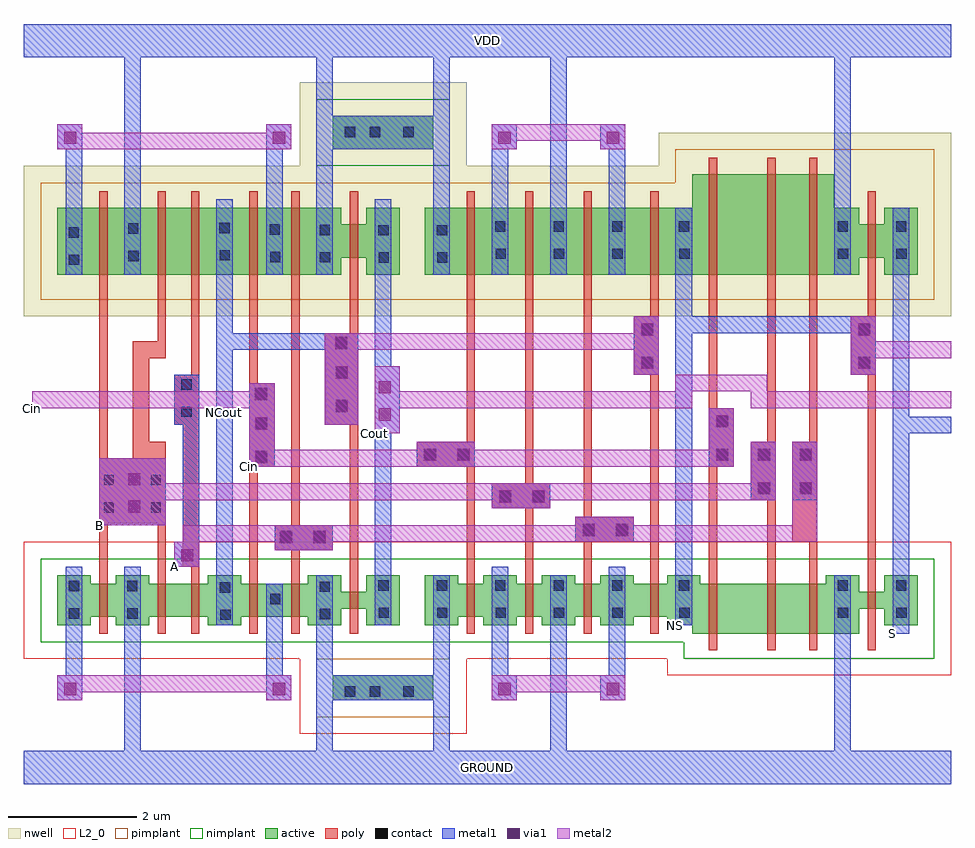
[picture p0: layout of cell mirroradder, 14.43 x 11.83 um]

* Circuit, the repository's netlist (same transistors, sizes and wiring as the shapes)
* SPICE NETLIST
***************************************

.SUBCKT mimcap_g13 plus minus
.ENDS
***************************************
.SUBCKT spiral_inductor_lvs pos neg
.ENDS
***************************************
.SUBCKT mirroradder GROUND VDD Cout NS S B A Cin
** N=19 EP=8 IP=0 FDC=28
* PORT GROUND GROUND 4485 -1300 metal1
* PORT VDD VDD 4485 10010 metal1
* PORT Cout Cout 2730 3900 metal2
* PORT NS NS 7410 910 metal1
* PORT S S 10790 780 metal1
* PORT B B -1560 2470 metal2
* PORT A A -390 1820 metal2
* PORT Cin Cin 780 3380 metal2
M0 GROUND B 1 GROUND nmos L=1.3e-07 W=5.2e-07 $X=-1560 $Y=1040 $D=19
M1 3 B GROUND GROUND nmos L=1.3e-07 W=5.2e-07 $X=-650 $Y=1040 $D=19
M2 4 A 3 GROUND nmos L=1.3e-07 W=5.2e-07 $X=-130 $Y=1040 $D=19
M3 1 Cin 4 GROUND nmos L=1.3e-07 W=5.2e-07 $X=780 $Y=1040 $D=19
M4 GROUND A 1 GROUND nmos L=1.3e-07 W=5.2e-07 $X=1430 $Y=1040 $D=19
M5 Cout 4 GROUND GROUND nmos L=1.3e-07 W=2.6e-07 $X=2340 $Y=1170 $D=19
M6 7 Cin GROUND GROUND nmos L=1.3e-07 W=5.2e-07 $X=4160 $Y=1040 $D=19
M7 GROUND B 7 GROUND nmos L=1.3e-07 W=5.2e-07 $X=5070 $Y=1040 $D=19
M8 7 A GROUND GROUND nmos L=1.3e-07 W=5.2e-07 $X=5980 $Y=1040 $D=19
M9 NS 4 7 GROUND nmos L=1.3e-07 W=5.2e-07 $X=7020 $Y=1040 $D=19
M10 9 Cin NS GROUND nmos L=1.3e-07 W=7.8e-07 $X=7930 $Y=780 $D=19
M11 10 B 9 GROUND nmos L=1.3e-07 W=7.8e-07 $X=8840 $Y=780 $D=19
M12 GROUND A 10 GROUND nmos L=1.3e-07 W=7.8e-07 $X=9490 $Y=780 $D=19
M13 S NS GROUND GROUND nmos L=1.3e-07 W=2.6e-07 $X=10400 $Y=1170 $D=19
M14 VDD B 12 VDD pmos L=1.3e-07 W=1.04e-06 $X=-1560 $Y=6370 $D=25
M15 13 B VDD VDD pmos L=1.3e-07 W=1.04e-06 $X=-650 $Y=6370 $D=25
M16 4 A 13 VDD pmos L=1.3e-07 W=1.04e-06 $X=-130 $Y=6370 $D=25
M17 12 Cin 4 VDD pmos L=1.3e-07 W=1.04e-06 $X=780 $Y=6370 $D=25
M18 VDD A 12 VDD pmos L=1.3e-07 W=1.04e-06 $X=1430 $Y=6370 $D=25
M19 Cout 4 VDD VDD pmos L=1.3e-07 W=5.2e-07 $X=2340 $Y=6630 $D=25
M20 14 Cin VDD VDD pmos L=1.3e-07 W=1.04e-06 $X=4160 $Y=6370 $D=25
M21 VDD B 14 VDD pmos L=1.3e-07 W=1.04e-06 $X=5070 $Y=6370 $D=25
M22 14 A VDD VDD pmos L=1.3e-07 W=1.04e-06 $X=5980 $Y=6370 $D=25
M23 NS 4 14 VDD pmos L=1.3e-07 W=1.04e-06 $X=7020 $Y=6370 $D=25
M24 15 Cin NS VDD pmos L=1.3e-07 W=1.56e-06 $X=7930 $Y=6370 $D=25
M25 16 B 15 VDD pmos L=1.3e-07 W=1.56e-06 $X=8840 $Y=6370 $D=25
M26 VDD A 16 VDD pmos L=1.3e-07 W=1.56e-06 $X=9490 $Y=6370 $D=25
M27 S NS VDD VDD pmos L=1.3e-07 W=5.2e-07 $X=10400 $Y=6630 $D=25
.ENDS
***************************************

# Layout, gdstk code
import gdstk
lib = gdstk.Library(unit=1e-6, precision=1e-09)
def R(c, l, rs):  # rectangles x0, y0, x1, y1
    for r in rs: c.add(gdstk.rectangle(r[:2], r[2:], *l))
def A(c, l, x, y, w, h, nx, ny, dx, dy):  # array of equal rectangles
    R(c, l, [(x+i*dx, y+j*dy, x+i*dx+w, y+j*dy+h) for i in range(nx) for j in range(ny)])
def P(c, l, *ps):  # polygons
    for p in ps: c.add(gdstk.Polygon(p, *l))
L2_0 = (2, 0)
nwell = (3, 0)
active = (6, 0)
poly = (17, 0)
pimplant = (25, 0)
nimplant = (26, 0)
contact = (30, 0)
metal1 = (31, 0)
metal2 = (32, 0)
via1 = (51, 0)

mirroradder = lib.new_cell('mirroradder')
P(mirroradder, L2_0, [(-2.73,0.39),(1.56,0.39),(1.56,-0.78),(4.16,-0.78),(4.16,0.39),(7.28,0.39),(7.28,0.13),(11.7,0.13),(11.7,2.21),(-2.73,2.21)])
P(mirroradder, nwell, [(-2.73,5.72),(11.7,5.72),(11.7,8.58),(7.15,8.58),(7.15,8.06),(4.16,8.06),(4.16,9.36),(1.56,9.36),(1.56,8.06),(-2.73,8.06)])
R(mirroradder, active, [(2.08,-0.26,3.64,0.13), (2.08,8.32,3.64,8.84)])
P(mirroradder, active, [(3.51,6.37),(10.27,6.37),(10.27,6.63),(10.66,6.63),(10.66,6.37),(11.18,6.37),(11.18,7.41),(10.66,7.41),(10.66,7.15),(10.27,7.15),(10.27,7.41),(9.88,7.41),(9.88,7.93),(7.67,7.93),(7.67,7.41),(3.51,7.41)],
  [(-2.21,0.91),(-1.69,0.91),(-1.69,1.04),(-1.3,1.04),(-1.3,0.91),(-0.78,0.91),(-0.78,1.04),(0.13,1.04),(0.13,0.91),(0.65,0.91),(0.65,1.04),(1.69,1.04),(1.69,0.91),(2.21,0.91),(2.21,1.17),(2.6,1.17),(2.6,0.91),(3.12,0.91),(3.12,1.69),(2.6,1.69),(2.6,1.43),(2.21,1.43),(2.21,1.69),(1.69,1.69),(1.69,1.56),(0.65,1.56),(0.65,1.69),(0.13,1.69),(0.13,1.56),(-0.78,1.56),(-0.78,1.69),(-1.3,1.69),(-1.3,1.56),(-1.69,1.56),(-1.69,1.69),(-2.21,1.69)],
  [(3.51,0.91),(4.03,0.91),(4.03,1.04),(4.42,1.04),(4.42,0.91),(4.94,0.91),(4.94,1.04),(5.33,1.04),(5.33,0.91),(5.85,0.91),(5.85,1.04),(6.24,1.04),(6.24,0.91),(6.76,0.91),(6.76,1.04),(7.28,1.04),(7.28,0.91),(7.67,0.91),(7.67,0.78),(10.27,0.78),(10.27,1.17),(10.66,1.17),(10.66,0.91),(11.18,0.91),(11.18,1.69),(10.66,1.69),(10.66,1.43),(10.27,1.43),(10.27,1.69),(9.75,1.69),(9.75,1.56),(7.8,1.56),(7.8,1.69),(7.28,1.69),(7.28,1.56),(6.76,1.56),(6.76,1.69),(6.24,1.69),(6.24,1.56),(5.85,1.56),(5.85,1.69),(5.33,1.69),(5.33,1.56),(4.94,1.56),(4.94,1.69),(4.42,1.69),(4.42,1.56),(4.03,1.56),(4.03,1.69),(3.51,1.69)],
  [(-2.21,6.37),(2.21,6.37),(2.21,6.63),(2.6,6.63),(2.6,6.37),(3.12,6.37),(3.12,7.41),(2.6,7.41),(2.6,7.15),(2.21,7.15),(2.21,7.41),(-2.21,7.41)])
R(mirroradder, poly, [(-1.56,0.78,-1.43,7.67), (-1.43,2.495,-0.65,3.51)])
P(mirroradder, poly, [(-1.04,3.51),(-0.65,3.51),(-0.65,0.78),(-0.52,0.78),(-0.52,3.77),(-0.78,3.77),(-0.78,5.07),(-0.52,5.07),(-0.52,7.67),(-0.65,7.67),(-0.65,5.33),(-1.04,5.33)],
  [(-0.39,4.03),(-0.26,4.03),(-0.26,1.82),(-0.13,1.82),(-0.13,0.78),(0,0.78),(0,7.67),(-0.13,7.67),(-0.13,4.81),(-0.39,4.81)],
  [(10.14,4.81),(10.4,4.81),(10.4,0.52),(10.53,0.52),(10.53,7.67),(10.4,7.67),(10.4,5.72),(10.14,5.72)],
  [(0.78,0.78),(0.91,0.78),(0.91,3.38),(1.17,3.38),(1.17,4.68),(0.91,4.68),(0.91,7.67),(0.78,7.67)],
  [(1.95,4.03),(2.34,4.03),(2.34,0.78),(2.47,0.78),(2.47,7.67),(2.34,7.67),(2.34,5.46),(1.95,5.46)],
  [(3.38,3.38),(4.16,3.38),(4.16,0.78),(4.29,0.78),(4.29,7.67),(4.16,7.67),(4.16,3.77),(3.38,3.77)],
  [(5.85,2.21),(5.98,2.21),(5.98,0.78),(6.11,0.78),(6.11,2.21),(6.76,2.21),(6.76,2.6),(6.11,2.6),(6.11,7.67),(5.98,7.67),(5.98,2.6),(5.85,2.6)],
  [(4.55,2.73),(5.07,2.73),(5.07,0.78),(5.2,0.78),(5.2,2.73),(5.46,2.73),(5.46,3.12),(5.2,3.12),(5.2,7.67),(5.07,7.67),(5.07,3.12),(4.55,3.12)],
  [(6.76,4.81),(7.02,4.81),(7.02,0.78),(7.15,0.78),(7.15,7.67),(7.02,7.67),(7.02,5.72),(6.76,5.72)],
  [(7.93,0.52),(8.06,0.52),(8.06,3.38),(8.32,3.38),(8.32,4.29),(8.06,4.29),(8.06,8.19),(7.93,8.19)],
  [(8.58,2.86),(8.84,2.86),(8.84,0.52),(8.97,0.52),(8.97,8.19),(8.84,8.19),(8.84,3.77),(8.58,3.77)],
  [(9.23,2.21),(9.49,2.21),(9.49,0.52),(9.62,0.52),(9.62,8.19),(9.49,8.19),(9.49,3.77),(9.23,3.77)],
  [(1.17,2.08),(1.43,2.08),(1.43,0.78),(1.56,0.78),(1.56,2.08),(2.08,2.08),(2.08,2.47),(1.56,2.47),(1.56,7.67),(1.43,7.67),(1.43,2.47),(1.17,2.47)])
R(mirroradder, pimplant, [(1.82,-0.52,3.9,0.39)])
P(mirroradder, pimplant, [(-2.47,5.98),(11.44,5.98),(11.44,8.32),(7.41,8.32),(7.41,7.8),(-2.47,7.8)])
R(mirroradder, nimplant, [(1.82,8.06,3.9,9.1)])
P(mirroradder, nimplant, [(-2.47,0.65),(7.54,0.65),(7.54,0.39),(11.44,0.39),(11.44,1.95),(-2.47,1.95)])
A(mirroradder, contact, 2.79, 1.025, 0.16, 0.16, 5, 1, 0.91, 0)
A(mirroradder, contact, 2.785, 1.45, 0.16, 0.16, 5, 1, 0.91, 0)
A(mirroradder, contact, 8.06, 3.485, 0.16, 0.16, 3, 1, 0.65, 0)
A(mirroradder, contact, 4.61, 6.615, 0.16, 0.16, 3, 1, 0.91, 0)
A(mirroradder, contact, 4.605, 7.04, 0.16, 0.16, 3, 1, 0.91, 0)
R(mirroradder, contact, [(2.265,-0.2,2.425,-0.04), (2.655,-0.2,2.815,-0.04), (3.175,-0.2,3.335,-0.04), (0.325,0.995,0.485,1.155), (1.875,1.005,2.035,1.165), (-2.03,1.015,-1.87,1.175), (-1.12,1.015,-0.96,1.175), (7.47,1.025,7.63,1.185), (9.94,1.025,10.1,1.185), (10.85,1.025,11.01,1.185), (1.1,1.24,1.26,1.4), (0.32,1.42,0.48,1.58), (1.87,1.43,2.03,1.59), (-2.03,1.44,-1.87,1.6), (-1.125,1.44,-0.965,1.6), (7.465,1.45,7.625,1.61), (9.935,1.45,10.095,1.61), (10.845,1.45,11.005,1.61), (1.27,2.205,1.43,2.365), (1.79,2.205,1.95,2.365), (5.98,2.315,6.14,2.475), (6.5,2.315,6.66,2.475), (-1.49,2.665,-1.33,2.825), (-0.76,2.665,-0.6,2.825), (4.68,2.835,4.84,2.995), (5.2,2.835,5.36,2.995), (8.71,2.965,8.87,3.125), (9.36,2.965,9.52,3.125), (-1.49,3.09,-1.33,3.25), (-0.76,3.09,-0.6,3.25), (0.885,3.45,1.045,3.61), (3.51,3.485,3.67,3.645), (4.03,3.485,4.19,3.645), (0.885,3.97,1.045,4.13), (8.06,4.005,8.22,4.165), (-0.28,4.155,-0.12,4.315), (2.135,4.245,2.295,4.405), (0.88,4.43,1.04,4.59), (-0.28,4.58,-0.12,4.74), (2.135,4.765,2.295,4.925), (6.89,4.915,7.05,5.075), (10.27,4.915,10.43,5.075), (2.13,5.225,2.29,5.385), (6.89,5.435,7.05,5.595), (10.27,5.435,10.43,5.595), (-2.03,6.52,-1.87,6.68), (2.79,6.555,2.95,6.715), (3.7,6.555,3.86,6.715), (1.875,6.56,2.035,6.72), (1.1,6.565,1.26,6.725), (-1.105,6.58,-0.945,6.74), (0.315,6.59,0.475,6.75), (7.47,6.615,7.63,6.775), (9.94,6.615,10.1,6.775), (10.85,6.615,11.01,6.775), (-2.035,6.945,-1.875,7.105), (2.785,6.98,2.945,7.14), (3.695,6.98,3.855,7.14), (1.87,6.985,2.03,7.145), (1.095,6.99,1.255,7.15), (-1.11,7.005,-0.95,7.165), (0.31,7.015,0.47,7.175), (7.465,7.04,7.625,7.2), (9.935,7.04,10.095,7.2), (10.845,7.04,11.005,7.2), (2.265,8.51,2.425,8.67), (2.655,8.51,2.815,8.67), (3.175,8.51,3.335,8.67)])
R(mirroradder, metal1, [(-2.73,-1.56,11.7,-1.04), (-1.17,-1.04,-0.91,1.82), (5.46,-1.04,5.72,1.69), (9.88,-1.04,10.14,1.69), (0.26,0.91,0.52,7.54), (1.17,2.08,2.08,2.47), (5.85,2.21,6.76,2.6), (-1.56,2.47,-0.52,3.51), (4.55,2.73,5.46,3.12), (8.58,2.86,8.97,3.77), (9.23,2.86,9.62,3.77), (0.78,3.38,1.17,4.68), (3.38,3.38,4.29,3.77), (7.93,3.38,8.32,4.29), (6.76,4.81,7.15,5.72), (-1.17,6.37,-0.91,9.75), (5.46,6.37,5.72,9.75), (9.88,6.37,10.14,9.75), (-2.73,9.75,11.7,10.27)])
P(mirroradder, metal1, [(10.79,0.78),(11.05,0.78),(11.05,3.9),(11.7,3.9),(11.7,4.16),(11.05,4.16),(11.05,7.41),(10.79,7.41)],
  [(7.41,0.91),(7.67,0.91),(7.67,5.46),(10.14,5.46),(10.14,4.81),(10.53,4.81),(10.53,5.72),(7.67,5.72),(7.67,7.41),(7.41,7.41)],
  [(6.24,-0.26),(6.63,-0.26),(6.63,1.82),(6.37,1.82),(6.37,0.13),(6.24,0.13)],
  [(1.04,6.37),(1.3,6.37),(1.3,8.32),(1.43,8.32),(1.43,8.71),(1.04,8.71)],
  [(-2.21,-0.26),(-1.82,-0.26),(-1.82,1.82),(-2.08,1.82),(-2.08,0.13),(-2.21,0.13)],
  [(2.73,0.91),(2.99,0.91),(2.99,3.9),(3.12,3.9),(3.12,4.94),(2.99,4.94),(2.99,7.54),(2.73,7.54)],
  [(-2.21,8.32),(-2.08,8.32),(-2.08,6.37),(-1.82,6.37),(-1.82,8.71),(-2.21,8.71)],
  [(1.82,-1.04),(2.08,-1.04),(2.08,-0.26),(3.64,-0.26),(3.64,-1.04),(3.9,-1.04),(3.9,1.69),(3.64,1.69),(3.64,0.13),(2.08,0.13),(2.08,1.69),(1.82,1.69)],
  [(-0.39,1.82),(0,1.82),(0,4.81),(-0.39,4.81),(-0.39,4.03),(-0.26,4.03),(-0.26,2.21),(-0.39,2.21)],
  [(1.82,6.37),(2.08,6.37),(2.08,8.32),(3.64,8.32),(3.64,6.37),(3.9,6.37),(3.9,9.75),(3.64,9.75),(3.64,8.84),(2.08,8.84),(2.08,9.75),(1.82,9.75)],
  [(1.04,-0.26),(1.43,-0.26),(1.43,0.13),(1.3,0.13),(1.3,1.56),(1.04,1.56)],
  [(4.55,-0.26),(4.94,-0.26),(4.94,0.13),(4.81,0.13),(4.81,1.82),(4.55,1.82)],
  [(4.55,6.37),(4.81,6.37),(4.81,8.32),(4.94,8.32),(4.94,8.71),(4.55,8.71)],
  [(6.24,8.32),(6.37,8.32),(6.37,6.37),(6.63,6.37),(6.63,8.71),(6.24,8.71)],
  [(0.52,5.2),(1.95,5.2),(1.95,4.03),(2.47,4.03),(2.47,5.46),(0.52,5.46)])
P(mirroradder, metal2, [(2.73,3.9),(3.12,3.9),(3.12,4.29),(7.67,4.29),(7.67,4.55),(8.58,4.55),(8.58,4.29),(11.7,4.29),(11.7,4.55),(8.84,4.55),(8.84,4.81),(7.41,4.81),(7.41,4.55),(3.12,4.55),(3.12,4.94),(2.73,4.94)],
  [(-0.39,1.82),(0,1.82),(0,2.21),(1.17,2.21),(1.17,2.08),(2.08,2.08),(2.08,2.21),(9.62,2.21),(9.62,3.77),(9.23,3.77),(9.23,2.47),(6.76,2.47),(6.76,2.6),(5.85,2.6),(5.85,2.47),(-0.26,2.47),(-0.26,2.21),(-0.39,2.21)],
  [(-1.56,2.47),(-0.52,2.47),(-0.52,2.86),(4.55,2.86),(4.55,2.73),(5.46,2.73),(5.46,2.86),(8.97,2.86),(8.97,3.77),(8.58,3.77),(8.58,3.12),(-0.52,3.12),(-0.52,3.51),(-1.56,3.51)],
  [(-2.6,4.29),(0.78,4.29),(0.78,3.38),(8.32,3.38),(8.32,4.29),(7.93,4.29),(7.93,3.64),(4.29,3.64),(4.29,3.77),(3.38,3.77),(3.38,3.64),(1.17,3.64),(1.17,4.68),(0.78,4.68),(0.78,4.55),(-2.6,4.55)],
  [(-2.21,8.32),(1.43,8.32),(1.43,8.71),(1.04,8.71),(1.04,8.58),(-1.82,8.58),(-1.82,8.71),(-2.21,8.71)],
  [(4.55,8.32),(4.94,8.32),(4.94,8.45),(6.24,8.45),(6.24,8.32),(6.63,8.32),(6.63,8.71),(4.55,8.71)],
  [(-2.21,-0.26),(-1.82,-0.26),(-1.82,-0.13),(1.04,-0.13),(1.04,-0.26),(1.43,-0.26),(1.43,0.13),(-2.21,0.13)],
  [(4.55,-0.26),(4.94,-0.26),(4.94,-0.13),(6.24,-0.13),(6.24,-0.26),(6.63,-0.26),(6.63,0.13),(4.55,0.13)],
  [(1.95,4.03),(2.47,4.03),(2.47,5.2),(6.76,5.2),(6.76,4.81),(7.15,4.81),(7.15,5.72),(6.76,5.72),(6.76,5.46),(1.95,5.46)],
  [(10.14,4.81),(10.53,4.81),(10.53,5.07),(11.7,5.07),(11.7,5.33),(10.53,5.33),(10.53,5.72),(10.14,5.72)])
A(mirroradder, via1, 8.045, 3.47, 0.19, 0.19, 3, 1, 0.65, 0)
R(mirroradder, via1, [(-2.105,-0.175,-1.915,0.015), (1.145,-0.175,1.335,0.015), (4.655,-0.175,4.845,0.015), (6.345,-0.175,6.535,0.015), (-0.285,1.905,-0.095,2.095), (1.255,2.19,1.445,2.38), (1.775,2.19,1.965,2.38), (5.965,2.3,6.155,2.49), (6.485,2.3,6.675,2.49), (-1.11,2.665,-0.92,2.855), (4.665,2.82,4.855,3.01), (5.185,2.82,5.375,3.01), (8.695,2.95,8.885,3.14), (9.345,2.95,9.535,3.14), (-1.11,3.09,-0.92,3.28), (0.87,3.435,1.06,3.625), (3.495,3.47,3.685,3.66), (4.015,3.47,4.205,3.66), (0.87,3.955,1.06,4.145), (8.045,3.99,8.235,4.18), (2.79,4.095,2.98,4.285), (2.12,4.23,2.31,4.42), (0.865,4.415,1.055,4.605), (2.79,4.52,2.98,4.71), (2.12,4.75,2.31,4.94), (6.875,4.9,7.065,5.09), (10.255,4.9,10.445,5.09), (2.115,5.21,2.305,5.4), (6.875,5.42,7.065,5.61), (10.255,5.42,10.445,5.61), (-2.105,8.405,-1.915,8.595), (1.145,8.405,1.335,8.595), (4.655,8.405,4.845,8.595), (6.345,8.405,6.535,8.595)])
mirroradder.add(gdstk.Label('A', (-0.39,1.82), layer=132, texttype=0))
mirroradder.add(gdstk.Label('B', (-1.56,2.47), layer=132, texttype=0))
mirroradder.add(gdstk.Label('Cin', (0.78,3.38), layer=132, texttype=0))
mirroradder.add(gdstk.Label('Cout', (2.73,3.9), layer=132, texttype=0))
mirroradder.add(gdstk.Label('S', (10.79,0.78), layer=131, texttype=0))
mirroradder.add(gdstk.Label('VDD', (4.485,10.01), layer=131, texttype=0))
mirroradder.add(gdstk.Label('NS', (7.41,0.91), layer=131, texttype=0))
mirroradder.add(gdstk.Label('GROUND', (4.485,-1.3), layer=131, texttype=0))
mirroradder.add(gdstk.Label('A', (-0.39,1.82), layer=32, texttype=0))
mirroradder.add(gdstk.Label('S', (10.79,0.78), layer=31, texttype=0))
mirroradder.add(gdstk.Label('VDD', (4.485,10.01), layer=31, texttype=0))
mirroradder.add(gdstk.Label('B', (-1.56,2.47), layer=32, texttype=0))
mirroradder.add(gdstk.Label('Cin', (-2.6,4.29), layer=32, texttype=0))
mirroradder.add(gdstk.Label('Cout', (2.73,3.9), layer=32, texttype=0))
mirroradder.add(gdstk.Label('NS', (7.41,0.91), layer=31, texttype=0))
mirroradder.add(gdstk.Label('GROUND', (4.485,-1.3), layer=31, texttype=0))
mirroradder.add(gdstk.Label('NCout', (0.39,4.225), layer=31, texttype=0))

lib.write_gds('mirroradder.gds')
